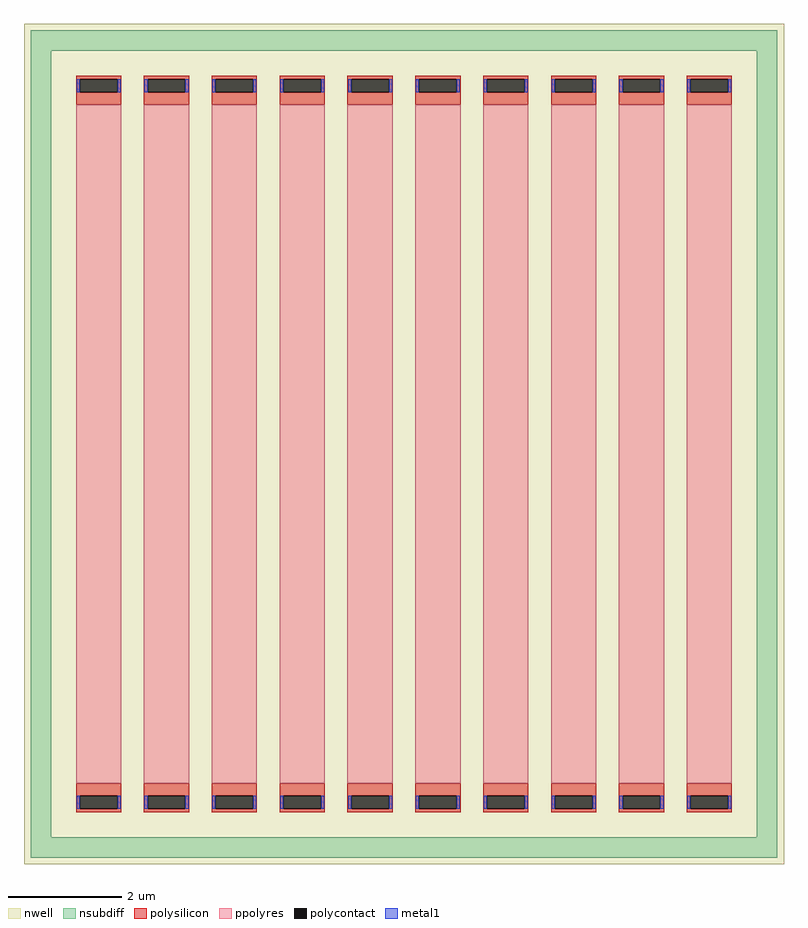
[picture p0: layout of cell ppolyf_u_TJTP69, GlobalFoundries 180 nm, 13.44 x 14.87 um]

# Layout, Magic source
magic
tech gf180mcuC
magscale 1 10
<< nwell >>
rect -1344 -1487 1344 1487
<< nsubdiff >>
rect -1320 1391 1320 1463
rect -1320 -1391 -1248 1391
rect 1248 -1391 1320 1391
rect -1320 -1463 1320 -1391
<< polysilicon >>
rect -1160 1290 -1000 1303
rect -1160 1244 -1147 1290
rect -1013 1244 -1000 1290
rect -1160 1200 -1000 1244
rect -1160 -1244 -1000 -1200
rect -1160 -1290 -1147 -1244
rect -1013 -1290 -1000 -1244
rect -1160 -1303 -1000 -1290
rect -920 1290 -760 1303
rect -920 1244 -907 1290
rect -773 1244 -760 1290
rect -920 1200 -760 1244
rect -920 -1244 -760 -1200
rect -920 -1290 -907 -1244
rect -773 -1290 -760 -1244
rect -920 -1303 -760 -1290
rect -680 1290 -520 1303
rect -680 1244 -667 1290
rect -533 1244 -520 1290
rect -680 1200 -520 1244
rect -680 -1244 -520 -1200
rect -680 -1290 -667 -1244
rect -533 -1290 -520 -1244
rect -680 -1303 -520 -1290
rect -440 1290 -280 1303
rect -440 1244 -427 1290
rect -293 1244 -280 1290
rect -440 1200 -280 1244
rect -440 -1244 -280 -1200
rect -440 -1290 -427 -1244
rect -293 -1290 -280 -1244
rect -440 -1303 -280 -1290
rect -200 1290 -40 1303
rect -200 1244 -187 1290
rect -53 1244 -40 1290
rect -200 1200 -40 1244
rect -200 -1244 -40 -1200
rect -200 -1290 -187 -1244
rect -53 -1290 -40 -1244
rect -200 -1303 -40 -1290
rect 40 1290 200 1303
rect 40 1244 53 1290
rect 187 1244 200 1290
rect 40 1200 200 1244
rect 40 -1244 200 -1200
rect 40 -1290 53 -1244
rect 187 -1290 200 -1244
rect 40 -1303 200 -1290
rect 280 1290 440 1303
rect 280 1244 293 1290
rect 427 1244 440 1290
rect 280 1200 440 1244
rect 280 -1244 440 -1200
rect 280 -1290 293 -1244
rect 427 -1290 440 -1244
rect 280 -1303 440 -1290
rect 520 1290 680 1303
rect 520 1244 533 1290
rect 667 1244 680 1290
rect 520 1200 680 1244
rect 520 -1244 680 -1200
rect 520 -1290 533 -1244
rect 667 -1290 680 -1244
rect 520 -1303 680 -1290
rect 760 1290 920 1303
rect 760 1244 773 1290
rect 907 1244 920 1290
rect 760 1200 920 1244
rect 760 -1244 920 -1200
rect 760 -1290 773 -1244
rect 907 -1290 920 -1244
rect 760 -1303 920 -1290
rect 1000 1290 1160 1303
rect 1000 1244 1013 1290
rect 1147 1244 1160 1290
rect 1000 1200 1160 1244
rect 1000 -1244 1160 -1200
rect 1000 -1290 1013 -1244
rect 1147 -1290 1160 -1244
rect 1000 -1303 1160 -1290
<< polycontact >>
rect -1147 1244 -1013 1290
rect -1147 -1290 -1013 -1244
rect -907 1244 -773 1290
rect -907 -1290 -773 -1244
rect -667 1244 -533 1290
rect -667 -1290 -533 -1244
rect -427 1244 -293 1290
rect -427 -1290 -293 -1244
rect -187 1244 -53 1290
rect -187 -1290 -53 -1244
rect 53 1244 187 1290
rect 53 -1290 187 -1244
rect 293 1244 427 1290
rect 293 -1290 427 -1244
rect 533 1244 667 1290
rect 533 -1290 667 -1244
rect 773 1244 907 1290
rect 773 -1290 907 -1244
rect 1013 1244 1147 1290
rect 1013 -1290 1147 -1244
<< ppolyres >>
rect -1160 -1200 -1000 1200
rect -920 -1200 -760 1200
rect -680 -1200 -520 1200
rect -440 -1200 -280 1200
rect -200 -1200 -40 1200
rect 40 -1200 200 1200
rect 280 -1200 440 1200
rect 520 -1200 680 1200
rect 760 -1200 920 1200
rect 1000 -1200 1160 1200
<< metal1 >>
rect -1158 1244 -1147 1290
rect -1013 1244 -1002 1290
rect -918 1244 -907 1290
rect -773 1244 -762 1290
rect -678 1244 -667 1290
rect -533 1244 -522 1290
rect -438 1244 -427 1290
rect -293 1244 -282 1290
rect -198 1244 -187 1290
rect -53 1244 -42 1290
rect 42 1244 53 1290
rect 187 1244 198 1290
rect 282 1244 293 1290
rect 427 1244 438 1290
rect 522 1244 533 1290
rect 667 1244 678 1290
rect 762 1244 773 1290
rect 907 1244 918 1290
rect 1002 1244 1013 1290
rect 1147 1244 1158 1290
rect -1158 -1290 -1147 -1244
rect -1013 -1290 -1002 -1244
rect -918 -1290 -907 -1244
rect -773 -1290 -762 -1244
rect -678 -1290 -667 -1244
rect -533 -1290 -522 -1244
rect -438 -1290 -427 -1244
rect -293 -1290 -282 -1244
rect -198 -1290 -187 -1244
rect -53 -1290 -42 -1244
rect 42 -1290 53 -1244
rect 187 -1290 198 -1244
rect 282 -1290 293 -1244
rect 427 -1290 438 -1244
rect 522 -1290 533 -1244
rect 667 -1290 678 -1244
rect 762 -1290 773 -1244
rect 907 -1290 918 -1244
rect 1002 -1290 1013 -1244
rect 1147 -1290 1158 -1244
<< properties >>
string FIXED_BBOX -1284 -1427 1284 1427
string gencell ppolyf_u
string library gf180mcu
string parameters w 0.8 l 12.0 m 1 nx 10 wmin 0.80 lmin 1.00 rho 315 val 5.178k dummy 0 dw 0.07 term 0.0 sterm 0.0 caplen 0.4 snake 0 glc 0 grc 0 gtc 0 gbc 0 roverlap 0 endcov 100 full_metal 0
<< end >>
